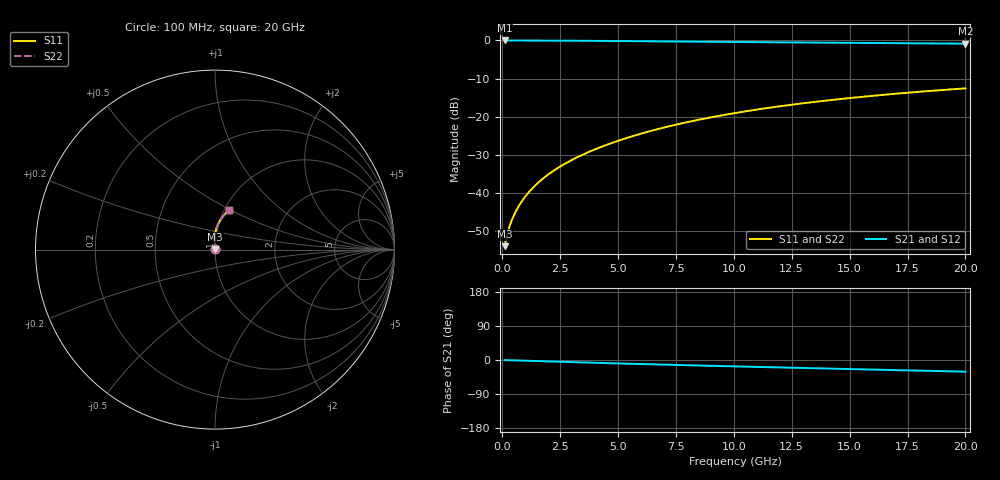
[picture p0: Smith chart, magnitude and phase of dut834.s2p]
! Touchstone file exported from HFSS 2024.1.0
!  File:  C:/UserFiles/LocalFiles/RDL_TSV_Batchsim/temp_RDL_top_834_1779855039.aedt
!  Generated:  12:12:49 PM May 27, 2026
!  Design:  RDL_top
!  Project:  temp_RDL_top_834_1779855039
!  Setup:  Setup1
!  Solution:  Sweep
! Variables:
!  dtsv = 10.80580581um
!  hbump = 3um
!  htsv = 50.04um
!  ldown = 100um
!  lrdl = 490.94um
!  p = 40
!  p1 = 43.63um
!  rhole = 1um
!  t = 450um
!  tdown = 3.915915916um
!  trdl = 4.56um
!  wdown = 15.38538539um
!  wrdl = 25.84um
# GHz S MA R 50.000000
! Terminal data exported
! Port[1] = Box2_T1
! Port[2] = Box2_T2
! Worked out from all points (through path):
!   200 points, 100 MHz to 20 GHz, reference 50 ohm
!   highest |S21| = -0.01 dB at 100 MHz (marker M1); lowest = -0.9 dB at 20 GHz (marker M2)
!   group delay of S21, straight-line fit = 4.2 ps
!   lowest |S11| = -54.0 dB at 100 MHz (marker M3), VSWR 1.00, Z = 50.2 + j0.107 ohm
!   |S11| at or under -10 dB: start of sweep to end of sweep
!   |S22| runs from -54.0 to -12.6 dB; largest |S21 - S12| = 3e-15
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0.1  0.001997 32.1  0.9983 -0.2  0.9983 -0.2  0.001997 32.1
! Gamma 0 0 0 0
! Port Impedance 50 0 50 0
0.2  0.002738 48.3  0.9981 -0.4  0.9981 -0.4  0.002738 48.3
0.3  0.00353 56.4  0.9979 -0.6  0.9979 -0.6  0.00353 56.4
0.4  0.004307 61.6  0.9978 -0.8  0.9978 -0.8  0.004308 61.6
0.5  0.005074 65.5  0.9976 -1.0  0.9976 -1.0  0.005075 65.5
0.6  0.005842 68.6  0.9975 -1.2  0.9975 -1.2  0.005844 68.6
0.8  0.007404 73.3  0.9972 -1.5  0.9972 -1.5  0.007405 73.3
1.1  0.009822 78.1  0.9967 -2.1  0.9967 -2.1  0.009823 78.1
1.3  0.01148 80.5  0.9963 -2.5  0.9963 -2.5  0.01148 80.4
1.6  0.01404 83.1  0.9956 -3.0  0.9956 -3.0  0.01404 83.1
2.1  0.01846 86.2  0.9941 -4.0  0.9941 -4.0  0.01845 86.1
2.7  0.02403 88.6  0.9919 -5.0  0.9919 -5.0  0.02403 88.6
3.5  0.03193 90.6  0.9884 -6.5  0.9884 -6.5  0.03192 90.5
4.2  0.03929 91.5  0.985 -7.7  0.985 -7.7  0.03927 91.5
5  0.04817 92.0  0.9808 -9.0  0.9808 -9.0  0.04814 91.9
6.8  0.06967 91.3  0.9708 -11.9  0.9708 -11.9  0.06961 91.3
8.4  0.08995 89.5  0.962 -14.4  0.962 -14.4  0.08986 89.5
10.1  0.1121 87.0  0.953 -17.0  0.953 -17.0  0.1119 87.0
11.7  0.133 84.4  0.9449 -19.3  0.9449 -19.3  0.1328 84.3
13.4  0.1549 81.4  0.9366 -21.7  0.9366 -21.7  0.1547 81.4
16.7  0.1961 75.7  0.921 -26.3  0.921 -26.3  0.1959 75.7
20  0.2348 70.3  0.9058 -30.8  0.9058 -30.8  0.2345 70.2
